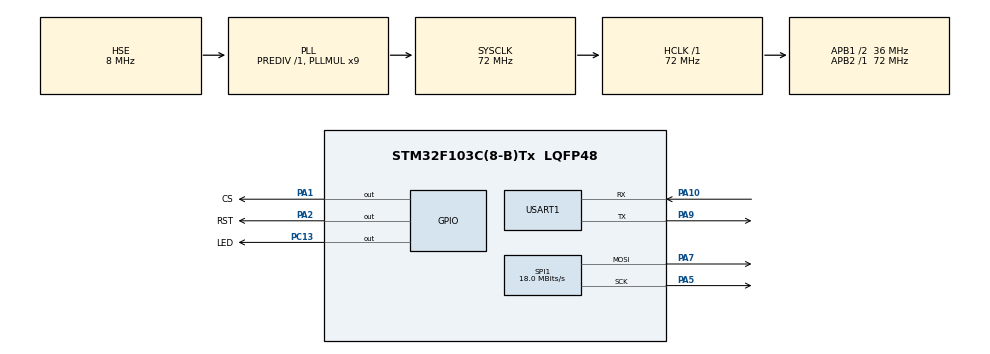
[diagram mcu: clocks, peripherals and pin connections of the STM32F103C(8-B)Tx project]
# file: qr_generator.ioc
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Dma.Request0=SPI1_TX
Dma.SPI1_TX.0.Direction=DMA_MEMORY_TO_PERIPH
Dma.SPI1_TX.0.Instance=DMA1_Channel3
Dma.SPI1_TX.0.MemDataAlignment=DMA_MDATAALIGN_BYTE
Dma.SPI1_TX.0.MemInc=DMA_MINC_ENABLE
Dma.SPI1_TX.0.Mode=DMA_NORMAL
Dma.SPI1_TX.0.PeriphDataAlignment=DMA_PDATAALIGN_BYTE
Dma.SPI1_TX.0.PeriphInc=DMA_PINC_DISABLE
Dma.SPI1_TX.0.Priority=DMA_PRIORITY_LOW
Mcu.Family=STM32F1
Mcu.Name=STM32F103C(8-B)Tx
Mcu.Package=LQFP48
NVIC.DMA1_Channel3_IRQn=true\:0\:0\:false\:false\:true\:false\:true\:true
NVIC.PriorityGroup=NVIC_PRIORITYGROUP_4
NVIC.SPI1_IRQn=true\:0\:0\:false\:false\:true\:true\:true\:true
NVIC.USART1_IRQn=true\:0\:0\:false\:false\:true\:true\:true\:true
PA1.GPIO_Label=CS
PA1.Signal=GPIO_Output
PA10.Mode=Asynchronous
PA10.Signal=USART1_RX
PA13.Mode=Serial_Wire
PA13.Signal=SYS_JTMS-SWDIO
PA14.Mode=Serial_Wire
PA14.Signal=SYS_JTCK-SWCLK
PA2.GPIO_Label=RST
PA2.Signal=GPIO_Output
PA5.Mode=TX_Only_Simplex_Unidirect_Master
PA5.Signal=SPI1_SCK
PA7.Mode=TX_Only_Simplex_Unidirect_Master
PA7.Signal=SPI1_MOSI
PA9.Mode=Asynchronous
PA9.Signal=USART1_TX
PC13-TAMPER-RTC.GPIO_Label=LED
PC13-TAMPER-RTC.Signal=GPIO_Output
PD0-OSC_IN.Mode=HSE-External-Oscillator
PD0-OSC_IN.Signal=RCC_OSC_IN
PD1-OSC_OUT.Mode=HSE-External-Oscillator
PD1-OSC_OUT.Signal=RCC_OSC_OUT
ProjectManager.HeapSize=0x200
ProjectManager.StackSize=0x400
ProjectManager.TargetToolchain=CMake
RCC.AHBFreq_Value=72000000
RCC.APB1CLKDivider=RCC_HCLK_DIV2
RCC.APB1Freq_Value=36000000
RCC.APB1TimFreq_Value=72000000
RCC.APB2Freq_Value=72000000
RCC.APB2TimFreq_Value=72000000
RCC.HCLKFreq_Value=72000000
RCC.PLLMUL=RCC_PLL_MUL9
RCC.PLLSourceVirtual=RCC_PLLSOURCE_HSE
RCC.SYSCLKFreq_VALUE=72000000
RCC.SYSCLKSource=RCC_SYSCLKSOURCE_PLLCLK
RCC.USBFreq_Value=72000000
SPI1.BaudRatePrescaler=SPI_BAUDRATEPRESCALER_4
SPI1.CLKPhase=SPI_PHASE_2EDGE
SPI1.CLKPolarity=SPI_POLARITY_HIGH
SPI1.CalculateBaudRate=18.0 MBits/s
SPI1.Direction=SPI_DIRECTION_2LINES
SPI1.Mode=SPI_MODE_MASTER
SPI1.VirtualType=VM_MASTER
USART1.VirtualMode=VM_ASYNC
board=custom

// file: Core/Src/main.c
/* USER CODE BEGIN Header */
/**
  ******************************************************************************
  * @file           : main.c
  * @brief          : Main program body
  ******************************************************************************
  * @attention
  *
  * Copyright (c) 2024 STMicroelectronics.
  * All rights reserved.
  *
  * This software is licensed under terms that can be found in the LICENSE file
  * in the root directory of this software component.
  * If no LICENSE file comes with this software, it is provided AS-IS.
  *
  ******************************************************************************
  */
/* USER CODE END Header */
#include "main.h"

/* USER CODE BEGIN Includes */

#include "ST7920_lib.h"
#include "qrcodegen.h"
#include "logo.h"

extern char tx_buffer[128];

/* USER CODE END Includes */

/* USER CODE BEGIN PD */

//Maximum QR code capacity
#define UART_BUFFER_SIZE 773

/* USER CODE END PD */

SPI_HandleTypeDef hspi1;
DMA_HandleTypeDef hdma_spi1_tx;

UART_HandleTypeDef huart1;

/* USER CODE BEGIN PV */

uint8_t uart_rx_buffer[UART_BUFFER_SIZE];
uint16_t uart_rx_index = 0;

bool should_draw = false;
bool buffer_overflow = false;

/* USER CODE END PV */

void SystemClock_Config(void);
static void MX_GPIO_Init(void);
static void MX_DMA_Init(void);
static void MX_SPI1_Init(void);
static void MX_USART1_UART_Init(void);
/* USER CODE BEGIN PFP */

void generateQR();

/* USER CODE END PFP */

/* USER CODE BEGIN 0 */

void clear_screen() {
	ST7920_Draw_rectangle_filled(0, 0, 127, 63);
}

void print_on_x_center(uint8_t y, const char *str) {
	int len = 0;
	const char *s = str;

	//Calculate UTF8-aware string length
	while (*s) {
		if ((*s & 0xC0) != 0x80) {
			len++;
		}

		s++;
	}

	sprintf(tx_buffer, "%s", str);
	ST7920_Decode_UTF8(64 - len * 3, y, 1, tx_buffer);
}

void display_qr_error() {
	clear_screen();
	print_on_x_center(2, "Не удалось");
	print_on_x_center(3, "сгенерировать QR");
	ST7920_Update();
}

void finished_drawing() {
	buffer_overflow = false;
	should_draw = false;
	HAL_GPIO_WritePin(LED_GPIO_Port, LED_Pin, GPIO_PIN_SET);
	HAL_UART_Receive_IT(&huart1, &uart_rx_buffer[uart_rx_index], 1);
}

/* USER CODE END 0 */

int main(void)
{

  /* MCU Configuration--------------------------------------------------------*/

  /* Reset of all peripherals, Initializes the Flash interface and the Systick. */
  HAL_Init();

  /* Configure the system clock */
  SystemClock_Config();

  /* Initialize all configured peripherals */
  MX_GPIO_Init();
  MX_DMA_Init();
  MX_SPI1_Init();
  MX_USART1_UART_Init();
  /* USER CODE BEGIN 2 */

  HAL_Delay(100);
  ST7920_Init();
  ST7920_Graphic_mode(1);

  HAL_GPIO_WritePin(LED_GPIO_Port, LED_Pin, GPIO_PIN_SET);

  draw_logo();

  clear_screen();
  print_on_x_center(2, "Ожидание команд");
  print_on_x_center(3, "по UART");
  ST7920_Update();

  HAL_UART_Receive_IT(&huart1, &uart_rx_buffer[uart_rx_index], 1);

  /* USER CODE END 2 */

  /* Infinite loop */
  /* USER CODE BEGIN WHILE */

  while (1)
  {

	  if (should_draw) {

		  HAL_GPIO_WritePin(LED_GPIO_Port, LED_Pin, GPIO_PIN_RESET);

		  if (buffer_overflow) {
			  display_qr_error();
			  finished_drawing();
			  continue;
		  }

		  clear_screen();
		  print_on_x_center(3, "Идёт генерация QR");
		  ST7920_Update();

		  uint8_t qrcode[qrcodegen_BUFFER_LEN_MAX];
		  uint8_t tempBuffer[qrcodegen_BUFFER_LEN_MAX];

		  //Generate QR
		  bool ok = qrcodegen_encodeText((char*)uart_rx_buffer, tempBuffer, qrcode, qrcodegen_Ecc_LOW,
				  1, 11, //Min version - 1 (21x21); Max version - 11 (61x61)
				  qrcodegen_Mask_AUTO, true);

		  if (!ok) {
			  display_qr_error();
			  finished_drawing();
			  continue;
		  }

		  clear_screen();

		  int size = qrcodegen_getSize(qrcode);

		  for (int y = 0; y < size; y++) {
			  for (int x = 0; x < size; x++) {
				  if (qrcodegen_getModule(qrcode, x, y)) {

					  //Centered QR code position
					  uint8_t posX = x + 64 - (size + 1) / 2;
					  uint8_t posY = y + 32 - (size + 1) / 2;

					  ST7920_Clean_pixel(posX, posY);
				  }
			  }
		  }

		  ST7920_Update();

		  //Start waiting for another QR
		  finished_drawing();
	  }

    /* USER CODE END WHILE */

  }
}

void SystemClock_Config(void)
{
  RCC_OscInitTypeDef RCC_OscInitStruct = {0};
  RCC_ClkInitTypeDef RCC_ClkInitStruct = {0};

  /** Initializes the RCC Oscillators according to the specified parameters
  * in the RCC_OscInitTypeDef structure.
  */
  RCC_OscInitStruct.OscillatorType = RCC_OSCILLATORTYPE_HSE;
  RCC_OscInitStruct.HSEState = RCC_HSE_ON;
  RCC_OscInitStruct.HSEPredivValue = RCC_HSE_PREDIV_DIV1;
  RCC_OscInitStruct.HSIState = RCC_HSI_ON;
  RCC_OscInitStruct.PLL.PLLState = RCC_PLL_ON;
  RCC_OscInitStruct.PLL.PLLSource = RCC_PLLSOURCE_HSE;
  RCC_OscInitStruct.PLL.PLLMUL = RCC_PLL_MUL9;
  if (HAL_RCC_OscConfig(&RCC_OscInitStruct) != HAL_OK)
  {
    Error_Handler();
  }

  /** Initializes the CPU, AHB and APB buses clocks
  */
  RCC_ClkInitStruct.ClockType = RCC_CLOCKTYPE_HCLK|RCC_CLOCKTYPE_SYSCLK
                              |RCC_CLOCKTYPE_PCLK1|RCC_CLOCKTYPE_PCLK2;
  RCC_ClkInitStruct.SYSCLKSource = RCC_SYSCLKSOURCE_PLLCLK;
  RCC_ClkInitStruct.AHBCLKDivider = RCC_SYSCLK_DIV1;
  RCC_ClkInitStruct.APB1CLKDivider = RCC_HCLK_DIV2;
  RCC_ClkInitStruct.APB2CLKDivider = RCC_HCLK_DIV1;

  if (HAL_RCC_ClockConfig(&RCC_ClkInitStruct, FLASH_LATENCY_2) != HAL_OK)
  {
    Error_Handler();
  }
}

static void MX_SPI1_Init(void)
{

  /* SPI1 parameter configuration*/
  hspi1.Instance = SPI1;
  hspi1.Init.Mode = SPI_MODE_MASTER;
  hspi1.Init.Direction = SPI_DIRECTION_2LINES;
  hspi1.Init.DataSize = SPI_DATASIZE_8BIT;
  hspi1.Init.CLKPolarity = SPI_POLARITY_HIGH;
  hspi1.Init.CLKPhase = SPI_PHASE_2EDGE;
  hspi1.Init.NSS = SPI_NSS_SOFT;
  hspi1.Init.BaudRatePrescaler = SPI_BAUDRATEPRESCALER_4;
  hspi1.Init.FirstBit = SPI_FIRSTBIT_MSB;
  hspi1.Init.TIMode = SPI_TIMODE_DISABLE;
  hspi1.Init.CRCCalculation = SPI_CRCCALCULATION_DISABLE;
  hspi1.Init.CRCPolynomial = 10;
  if (HAL_SPI_Init(&hspi1) != HAL_OK)
  {
    Error_Handler();
  }

}

static void MX_USART1_UART_Init(void)
{

  huart1.Instance = USART1;
  huart1.Init.BaudRate = 115200;
  huart1.Init.WordLength = UART_WORDLENGTH_8B;
  huart1.Init.StopBits = UART_STOPBITS_1;
  huart1.Init.Parity = UART_PARITY_NONE;
  huart1.Init.Mode = UART_MODE_TX_RX;
  huart1.Init.HwFlowCtl = UART_HWCONTROL_NONE;
  huart1.Init.OverSampling = UART_OVERSAMPLING_16;
  if (HAL_UART_Init(&huart1) != HAL_OK)
  {
    Error_Handler();
  }

}

static void MX_DMA_Init(void)
{

  /* DMA controller clock enable */
  __HAL_RCC_DMA1_CLK_ENABLE();

  /* DMA interrupt init */
  /* DMA1_Channel3_IRQn interrupt configuration */
  HAL_NVIC_SetPriority(DMA1_Channel3_IRQn, 0, 0);
  HAL_NVIC_EnableIRQ(DMA1_Channel3_IRQn);

}

static void MX_GPIO_Init(void)
{
  GPIO_InitTypeDef GPIO_InitStruct = {0};

  /* GPIO Ports Clock Enable */
  __HAL_RCC_GPIOC_CLK_ENABLE();
  __HAL_RCC_GPIOD_CLK_ENABLE();
  __HAL_RCC_GPIOA_CLK_ENABLE();

  /*Configure GPIO pin Output Level */
  HAL_GPIO_WritePin(LED_GPIO_Port, LED_Pin, GPIO_PIN_RESET);

  /*Configure GPIO pin Output Level */
  HAL_GPIO_WritePin(GPIOA, CS_Pin|RST_Pin, GPIO_PIN_RESET);

  /*Configure GPIO pin : LED_Pin */
  GPIO_InitStruct.Pin = LED_Pin;
  GPIO_InitStruct.Mode = GPIO_MODE_OUTPUT_PP;
  GPIO_InitStruct.Pull = GPIO_NOPULL;
  GPIO_InitStruct.Speed = GPIO_SPEED_FREQ_LOW;
  HAL_GPIO_Init(LED_GPIO_Port, &GPIO_InitStruct);

  /*Configure GPIO pins : CS_Pin RST_Pin */
  GPIO_InitStruct.Pin = CS_Pin|RST_Pin;
  GPIO_InitStruct.Mode = GPIO_MODE_OUTPUT_PP;
  GPIO_InitStruct.Pull = GPIO_NOPULL;
  GPIO_InitStruct.Speed = GPIO_SPEED_FREQ_LOW;
  HAL_GPIO_Init(GPIOA, &GPIO_InitStruct);

}

/* USER CODE BEGIN 4 */

void HAL_UART_RxCpltCallback(UART_HandleTypeDef *huart)
{
	//Read the received byte
	uint8_t received_char = uart_rx_buffer[uart_rx_index];

    //Checking the end of the line
    if (received_char == '\0') {
    	//Add a null-terminator to the end of the string for termination
        uart_rx_buffer[uart_rx_index] = '\0';

        //Reset the index to accept the next line
        uart_rx_index = 0;

        //Permission to draw a QR
        should_draw = true;
    } else {
    	//Continuing to accept the string
        uart_rx_index++;

        //Buffer overflow protection
        if (uart_rx_index >= UART_BUFFER_SIZE) {
        	uart_rx_index = 0;
        	buffer_overflow = true;
        }
    }

    if (!should_draw) {
    	//Restart reception of one byte
    	HAL_UART_Receive_IT(&huart1, &uart_rx_buffer[uart_rx_index], 1);
    }
}

/* USER CODE END 4 */

void Error_Handler(void)
{
  __disable_irq();
  while (1)
  {
  }
}
